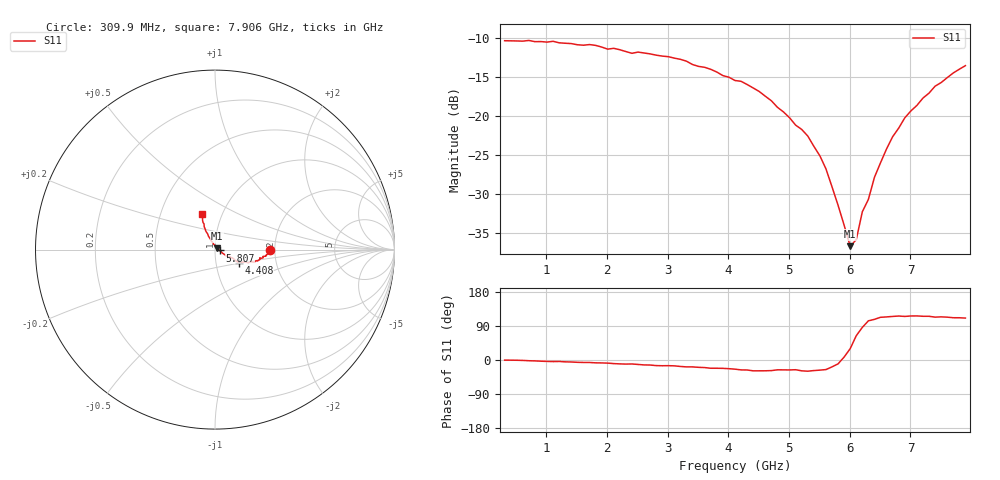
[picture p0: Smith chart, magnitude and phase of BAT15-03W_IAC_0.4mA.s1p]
! Infineon Technologies  Discrete & RF Semiconductors
! BAT15-03W-E6327
! IAC = 0.4 mA
! One-Port S-Parameters
# Hz  S  MA  R  50
!f  S11
!Hz  Mag  Ang
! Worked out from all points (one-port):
!   77 points, 309.9 MHz to 7.906 GHz, reference 50 ohm
!   lowest |S11| = -36.7 dB at 6.007 GHz (marker M1), VSWR 1.03, Z = 51.3 + j0.744 ohm
!   |S11| at or under -10 dB: start of sweep to end of sweep
!   S11 on the Smith chart (normalised r, x): 309.9 MHz: 1.88, -0.01; 4.408 GHz: 1.29, -0.19; 5.807 GHz: 1.05, -0.01; 7.906 GHz: 0.80, +0.33
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3.0985e8  0.3048 -0.4
1.30935e9  0.2937 -4.9
1.70915e9  0.2879 -6.5
2.2089e9  0.2667 -10.3
2.4088e9  0.253 -10.5
2.50875e9  0.2576 -11.8
3.2084e9  0.2315 -17.0
3.70815e9  0.1996 -21.8
4.10795e9  0.1691 -24.2
4.2079e9  0.1671 -26.1
4.4078e9  0.1515 -28.6
4.70765e9  0.1253 -28.0
5.10745e9  0.08738 -25.6
5.30735e9  0.07439 -29.6
5.50725e9  0.05546 -26.7
5.6072e9  0.04576 -25.3
5.8071e9  0.02668 -10.2
6.007e9  0.01456 29.9
6.10695e9  0.01603 64.1
6.2069e9  0.02421 86.0
6.30685e9  0.0291 103.4
6.4068e9  0.04036 107.3
6.6067e9  0.06147 113.7
6.70665e9  0.07358 115.0
6.90655e9  0.09724 115.0
7.0065e9  0.1077 116.1
7.4063e9  0.1555 113.1
7.90605e9  0.2107 110.6
